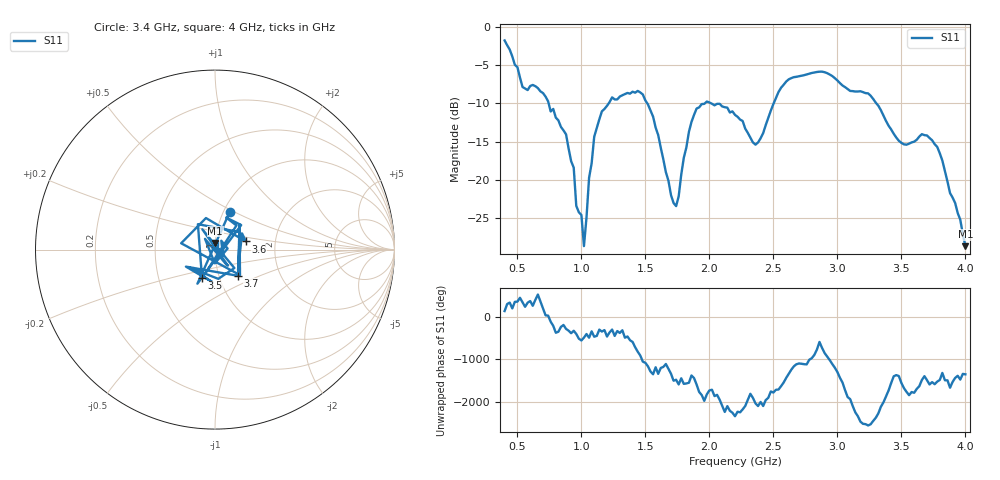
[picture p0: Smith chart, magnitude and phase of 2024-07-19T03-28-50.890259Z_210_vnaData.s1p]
!Created with skrf (http://scikit-rf.org).
# Hz S RI R 50.0
!freq ReS11 ImS11
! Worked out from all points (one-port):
!   181 points, 400 MHz to 4 GHz, reference 50 ohm
!   lowest |S11| = -28.7 dB at 4 GHz (marker M1), VSWR 1.08, Z = 49.9 + j3.68 ohm
!   |S11| at or under -10 dB: 744 MHz to 1.213 GHz (469.1 MHz wide, 47.9 % of centre); 2.014 GHz to 2.502 GHz (487.6 MHz wide, 21.6 % of centre); 3.304 GHz to end of sweep (the widest 3 of 4)
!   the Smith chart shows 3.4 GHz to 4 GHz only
!   S11 on the Smith chart (normalised r, x): 3.4 GHz: 1.07, +0.47; 3.5 GHz: 0.83, -0.27; 3.6 GHz: 1.41, +0.13; 3.7 GHz: 1.23, -0.37; 4 GHz: 1.00, +0.07
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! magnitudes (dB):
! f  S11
! 400 MHz  -1.8
! 540 MHz  -7.9
! 700 MHz  -8.7
! 860 MHz  -13.5
! 940 MHz  -18.4
! 960 MHz  -23.4
! 1 GHz  -24.6
! 1.02 GHz  -28.7
! 1.1 GHz  -14.4
! 1.3 GHz  -9.1
! 1.48 GHz  -8.8
! 1.56 GHz  -11.7
! 1.72 GHz  -23.0
! 1.76 GHz  -22.2
! 1.84 GHz  -13.7
! 1.9 GHz  -10.7
! 2.2 GHz  -11.5
! 2.36 GHz  -15.4
! 2.66 GHz  -6.6
! 3.1 GHz  -8.4
! 3.24 GHz  -8.7
! 3.4 GHz  -12.9
! 3.5 GHz  -15.2
! 3.56 GHz  -15.3
! 3.6 GHz  -15.0
! 3.7 GHz  -14.2
! 3.82 GHz  -17.5
! 4 GHz  -28.7
